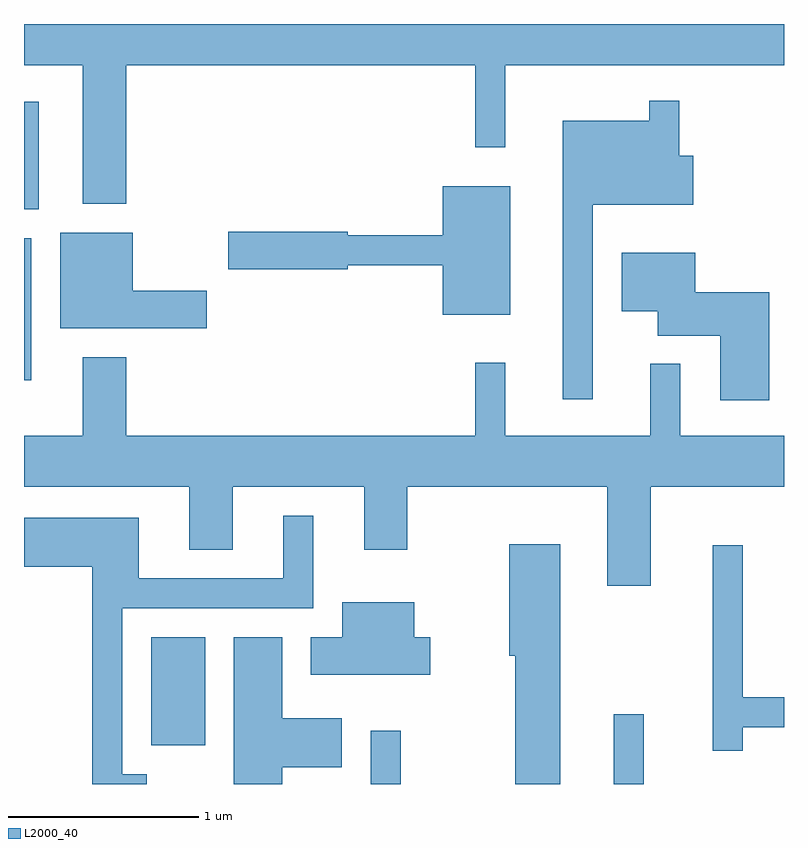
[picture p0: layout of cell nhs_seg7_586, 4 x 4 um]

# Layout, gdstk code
import gdstk
lib = gdstk.Library(unit=1e-6, precision=1e-09)
def R(c, l, rs):  # rectangles x0, y0, x1, y1
    for r in rs: c.add(gdstk.rectangle(r[:2], r[2:], *l))
def P(c, l, *ps):  # polygons
    for p in ps: c.add(gdstk.Polygon(p, *l))
L2000_40 = (2000, 40)

nhs_seg7_586 = lib.new_cell('nhs_seg7_586')
R(nhs_seg7_586, L2000_40, [(203.436,1768.252,203.594,1768.533), (204.716,1768.252,204.874,1768.618), (202.281,1768.456,202.564,1769.024), (201.611,1770.376,201.649,1771.124), (201.611,1771.276,201.689,1771.844)])
P(nhs_seg7_586, L2000_40, [(202.149,1772.036),(203.986,1772.036),(203.986,1771.603),(204.144,1771.603),(204.144,1772.036),(205.611,1772.036),(205.611,1772.252),(201.611,1772.252),(201.611,1772.036),(201.921,1772.036),(201.921,1771.306),(202.149,1771.306)],
  [(204.604,1771.301),(205.134,1771.301),(205.134,1771.559),(205.059,1771.559),(205.059,1771.848),(204.901,1771.848),(204.901,1771.744),(204.446,1771.744),(204.446,1770.278),(204.604,1770.278)],
  [(204.169,1771.399),(203.816,1771.399),(203.816,1771.139),(203.314,1771.139),(203.314,1771.159),(202.686,1771.159),(202.686,1770.961),(203.314,1770.961),(203.314,1770.981),(203.816,1770.981),(203.816,1770.721),(204.169,1770.721)],
  [(202.574,1770.849),(202.184,1770.849),(202.184,1771.154),(201.801,1771.154),(201.801,1770.651),(202.574,1770.651)],
  [(205.534,1770.839),(205.144,1770.839),(205.144,1771.049),(204.756,1771.049),(204.756,1770.741),(204.946,1770.741),(204.946,1770.611),(205.276,1770.611),(205.276,1770.271),(205.534,1770.271)],
  [(204.909,1769.816),(205.611,1769.816),(205.611,1770.084),(205.064,1770.084),(205.064,1770.463),(204.906,1770.463),(204.906,1770.084),(204.144,1770.084),(204.144,1770.468),(203.986,1770.468),(203.986,1770.084),(202.149,1770.084),(202.149,1770.499),(201.921,1770.499),(201.921,1770.084),(201.611,1770.084),(201.611,1769.816),(202.481,1769.816),(202.481,1769.486),(202.709,1769.486),(202.709,1769.816),(203.401,1769.816),(203.401,1769.486),(203.629,1769.486),(203.629,1769.816),(204.681,1769.816),(204.681,1769.296),(204.909,1769.296)],
  [(202.258,1768.304),(202.129,1768.304),(202.129,1769.176),(203.134,1769.176),(203.134,1769.663),(202.976,1769.663),(202.976,1769.334),(202.214,1769.334),(202.214,1769.654),(201.611,1769.654),(201.611,1769.396),(201.971,1769.396),(201.971,1768.252),(202.258,1768.252)],
  [(204.434,1769.514),(204.166,1769.514),(204.166,1768.926),(204.196,1768.926),(204.196,1768.252),(204.434,1768.252)],
  [(205.394,1768.551),(205.611,1768.551),(205.611,1768.709),(205.394,1768.709),(205.394,1769.508),(205.236,1769.508),(205.236,1768.428),(205.394,1768.428)],
  [(203.749,1769.024),(203.664,1769.024),(203.664,1769.209),(203.286,1769.209),(203.286,1769.024),(203.121,1769.024),(203.121,1768.826),(203.749,1768.826)],
  [(202.969,1768.341),(203.284,1768.341),(203.284,1768.599),(202.969,1768.599),(202.969,1769.024),(202.716,1769.024),(202.716,1768.252),(202.969,1768.252)])

lib.write_gds('nhs_seg7_586.gds')
